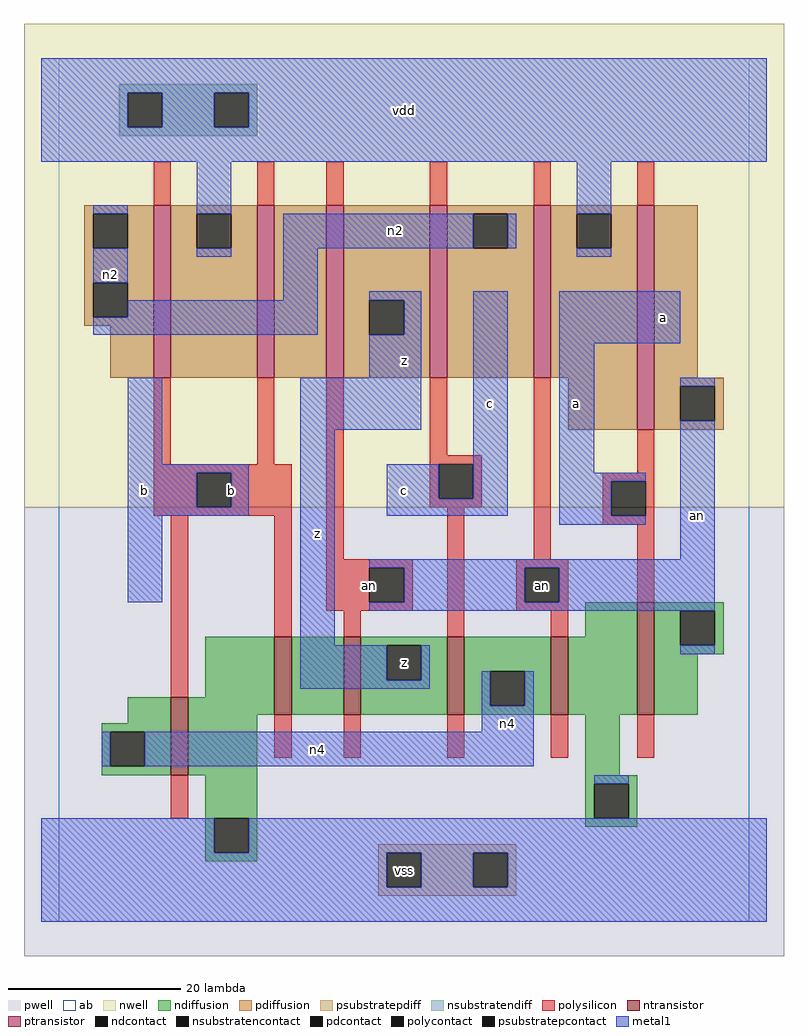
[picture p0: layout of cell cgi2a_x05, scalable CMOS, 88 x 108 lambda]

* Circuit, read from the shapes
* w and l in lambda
.subckt cgi2a_x05 a an b c n2 n4 vdd vss z
M1 vss b n4 vss nfet w=9 l=2
M2 n1 b vss vss nfet w=9 l=2
M3 z an n1 vss nfet w=9 l=2
M4 n4 c z vss nfet w=9 l=2
M5 vss an n4 vss nfet w=9 l=2
M6 an a vss vss nfet w=13 l=2
M7 vdd b n2 vdd pfet w=20 l=2
M8 n3 b vdd vdd pfet w=20 l=2
M9 z an n3 vdd pfet w=20 l=2
M10 n2 c z vdd pfet w=20 l=2
M11 vdd an n2 vdd pfet w=20 l=2
M12 an a vdd vdd pfet w=26 l=2
.ends

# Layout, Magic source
magic
tech scmos
<< ab >>
rect 0 0 80 100
<< pwell >>
rect -4 -4 84 48
<< nwell >>
rect -4 48 84 104
<< polysilicon >>
rect 11 83 13 88
rect 23 83 25 88
rect 31 83 33 88
rect 43 83 45 88
rect 55 83 57 88
rect 67 83 69 88
rect 11 53 13 63
rect 23 53 25 63
rect 11 52 27 53
rect 11 48 16 52
rect 20 48 27 52
rect 11 47 27 48
rect 13 26 15 47
rect 25 33 27 47
rect 31 42 33 63
rect 43 54 45 63
rect 43 53 49 54
rect 43 49 44 53
rect 48 49 49 53
rect 43 48 49 49
rect 31 41 41 42
rect 31 37 36 41
rect 40 37 41 41
rect 31 36 41 37
rect 33 33 35 36
rect 45 33 47 48
rect 55 42 57 63
rect 67 52 69 57
rect 63 51 69 52
rect 63 47 64 51
rect 68 47 69 51
rect 63 46 69 47
rect 53 41 59 42
rect 53 37 54 41
rect 58 37 59 41
rect 67 37 69 46
rect 53 36 59 37
rect 57 33 59 36
rect 25 19 27 24
rect 33 19 35 24
rect 45 19 47 24
rect 57 19 59 24
rect 13 12 15 17
rect 67 19 69 24
<< ndiffusion >>
rect 61 33 67 37
rect 17 26 25 33
rect 8 23 13 26
rect 5 22 13 23
rect 5 18 6 22
rect 10 18 13 22
rect 5 17 13 18
rect 15 24 25 26
rect 27 24 33 33
rect 35 32 45 33
rect 35 28 38 32
rect 42 28 45 32
rect 35 24 45 28
rect 47 29 57 33
rect 47 25 50 29
rect 54 25 57 29
rect 47 24 57 25
rect 59 24 67 33
rect 69 36 77 37
rect 69 32 72 36
rect 76 32 77 36
rect 69 31 77 32
rect 69 24 74 31
rect 15 17 23 24
rect 17 12 23 17
rect 17 8 18 12
rect 22 8 23 12
rect 61 17 65 24
rect 61 16 67 17
rect 61 12 62 16
rect 66 12 67 16
rect 61 11 67 12
rect 17 7 23 8
<< pdiffusion >>
rect 3 82 11 83
rect 3 78 4 82
rect 8 78 11 82
rect 3 74 11 78
rect 3 70 4 74
rect 8 70 11 74
rect 3 69 11 70
rect 6 63 11 69
rect 13 82 23 83
rect 13 78 16 82
rect 20 78 23 82
rect 13 63 23 78
rect 25 63 31 83
rect 33 72 43 83
rect 33 68 36 72
rect 40 68 43 72
rect 33 63 43 68
rect 45 82 55 83
rect 45 78 48 82
rect 52 78 55 82
rect 45 63 55 78
rect 57 82 67 83
rect 57 78 60 82
rect 64 78 67 82
rect 57 63 67 78
rect 59 57 67 63
rect 69 63 74 83
rect 69 62 77 63
rect 69 58 72 62
rect 76 58 77 62
rect 69 57 77 58
<< metal1 >>
rect -2 96 82 100
rect -2 92 8 96
rect 12 92 18 96
rect 22 92 82 96
rect -2 88 82 92
rect 4 82 8 83
rect 4 74 8 78
rect 16 82 20 88
rect 60 82 64 88
rect 16 77 20 78
rect 26 78 48 82
rect 52 78 53 82
rect 26 72 30 78
rect 60 77 64 78
rect 8 70 30 72
rect 4 68 30 70
rect 36 72 42 73
rect 40 68 42 72
rect 36 63 42 68
rect 8 53 12 63
rect 28 57 42 63
rect 8 52 22 53
rect 8 48 16 52
rect 20 48 22 52
rect 8 47 22 48
rect 8 37 12 47
rect 28 32 32 57
rect 38 49 44 53
rect 48 49 52 73
rect 38 47 52 49
rect 58 67 72 73
rect 58 52 62 67
rect 72 62 76 63
rect 58 51 68 52
rect 58 47 64 51
rect 58 46 68 47
rect 72 42 76 58
rect 36 41 76 42
rect 40 37 54 41
rect 58 37 76 41
rect 36 36 76 37
rect 28 28 38 32
rect 42 28 43 32
rect 72 31 76 32
rect 28 27 43 28
rect 49 25 50 29
rect 54 25 55 29
rect 49 22 55 25
rect 5 18 6 22
rect 10 18 55 22
rect 62 16 66 17
rect -2 8 18 12
rect 22 8 82 12
rect -2 4 38 8
rect 42 4 48 8
rect 52 4 82 8
rect -2 0 82 4
<< ntransistor >>
rect 13 17 15 26
rect 25 24 27 33
rect 33 24 35 33
rect 45 24 47 33
rect 57 24 59 33
rect 67 24 69 37
<< ptransistor >>
rect 11 63 13 83
rect 23 63 25 83
rect 31 63 33 83
rect 43 63 45 83
rect 55 63 57 83
rect 67 57 69 83
<< polycontact >>
rect 16 48 20 52
rect 44 49 48 53
rect 36 37 40 41
rect 64 47 68 51
rect 54 37 58 41
<< ndcontact >>
rect 6 18 10 22
rect 38 28 42 32
rect 50 25 54 29
rect 72 32 76 36
rect 18 8 22 12
rect 62 12 66 16
<< pdcontact >>
rect 4 78 8 82
rect 4 70 8 74
rect 16 78 20 82
rect 36 68 40 72
rect 48 78 52 82
rect 60 78 64 82
rect 72 58 76 62
<< psubstratepcontact >>
rect 38 4 42 8
rect 48 4 52 8
<< nsubstratencontact >>
rect 8 92 12 96
rect 18 92 22 96
<< psubstratepdiff >>
rect 37 8 53 9
rect 37 4 38 8
rect 42 4 48 8
rect 52 4 53 8
rect 37 3 53 4
<< nsubstratendiff >>
rect 7 96 23 97
rect 7 92 8 96
rect 12 92 18 96
rect 22 92 23 96
rect 7 91 23 92
<< labels >>
rlabel polysilicon 36 39 36 39 6 an
rlabel polycontact 56 39 56 39 6 an
rlabel metal1 10 50 10 50 6 b
rlabel metal1 6 75 6 75 6 n2
rlabel metal1 20 50 20 50 6 b
rlabel psubstratepcontact 40 6 40 6 6 vss
rlabel ndcontact 40 30 40 30 6 z
rlabel metal1 30 45 30 45 6 z
rlabel metal1 40 50 40 50 6 c
rlabel metal1 40 65 40 65 6 z
rlabel metal1 40 94 40 94 6 vdd
rlabel metal1 52 23 52 23 6 n4
rlabel metal1 30 20 30 20 6 n4
rlabel metal1 60 60 60 60 6 a
rlabel metal1 50 60 50 60 6 c
rlabel metal1 39 80 39 80 6 n2
rlabel polycontact 56 39 56 39 6 an
rlabel metal1 74 47 74 47 6 an
rlabel metal1 70 70 70 70 6 a
<< end >>
